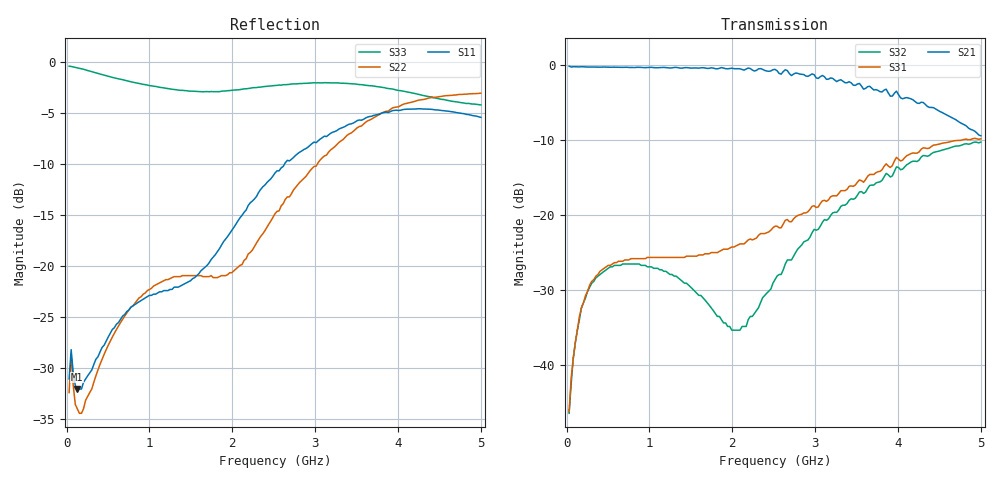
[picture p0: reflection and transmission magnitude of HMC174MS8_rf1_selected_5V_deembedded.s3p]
!Hittite Microwave Corporation
!12 Elizabeth Drive
!Chelmsford, MA 01824
!Tel: 978-250-3343
!Fax: 978-250-3373
!Device: HMC174MS8, DC - 3 GHz T/R Switch in 8-lead MSOP package
!Misc: Port1=RFC, Port2= RF1, Port3=RF2, RF1 ON, Bias: +5VDC
# MHZ S MA R 50
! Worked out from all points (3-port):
!   201 points, 30 MHz to 5 GHz, reference 50 ohm
!   strongest paths, dB at 30 MHz, 1.272 GHz, 2.515 GHz, 3.757 GHz, 5 GHz:
!     S21: -0.2, -0.4, -0.6, -3.4, -9.4
!     S31: -46.3, -25.7, -21.5, -14.2, -9.8
!     S32: -46.5, -28.0, -28.6, -15.7, -10.3
!   lowest |S11| = -32.0 dB at 129.4 MHz (marker M1), VSWR 1.05, Z = 47.9 - j1.27 ohm
!   |S11| at or under -10 dB: start of sweep to 2.628 GHz
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30  0.028 -142.3  0.982 -0.6  0.004769 65.3
    0.982 -0.6  0.024 -128.6  0.004855 57.8
    0.00486 66.0  0.004739 58.9  0.959 -10.3
129.4  0.025 -147.9  0.972 -4.1  0.017 69.8
       0.972 -4.0  0.02 -134.5  0.017 67.3
       0.017 70.3  0.017 67.9  0.94 -40.7
477.3  0.043 -134.7  0.968 -14.4  0.045 38.9
       0.968 -14.5  0.039 -108.5  0.043 30.6
       0.045 38.7  0.043 30.5  0.861 -122.3
850.05  0.066 -148.7  0.964 -25.1  0.054 25.6
        0.965 -25.2  0.068 -109.9  0.049 9.6
        0.051 25.2  0.047 9.2  0.793 -175.6
1595.55  0.092 132.6  0.954 -47.9  0.054 25.6
         0.953 -48.0  0.09 -148.8  0.029 -7.6
         0.054 25.3  0.029 -8.1  0.72 102.0
2092.55  0.173 71.8  0.946 -65.0  0.061 32.1
         0.943 -65.0  0.101 146.1  0.016 36.1
         0.064 32.2  0.017 36.4  0.736 54.7
2515  0.287 37.0  0.92 -79.2  0.084 31.2
      0.935 -80.3  0.181 93.9  0.037 69.7
      0.084 35.0  0.037 74.9  0.771 22.4
3384.75  0.492 -15.7  0.779 -110.7  0.155 28.1
         0.761 -111.3  0.439 36.1  0.124 60.3
         0.148 27.7  0.119 59.5  0.789 -27.8
4080.55  0.589 -61.9  0.603 -135.5  0.248 5.7
         0.602 -134.5  0.627 -11.1  0.218 31.8
         0.241 6.1  0.209 32.0  0.721 -66.4
5000  0.538 -146.2  0.339 -159.4  0.325 -43.4
      0.337 -158.9  0.707 -91.8  0.307 -17.8
      0.322 -42.1  0.306 -16.3  0.619 -127.8
